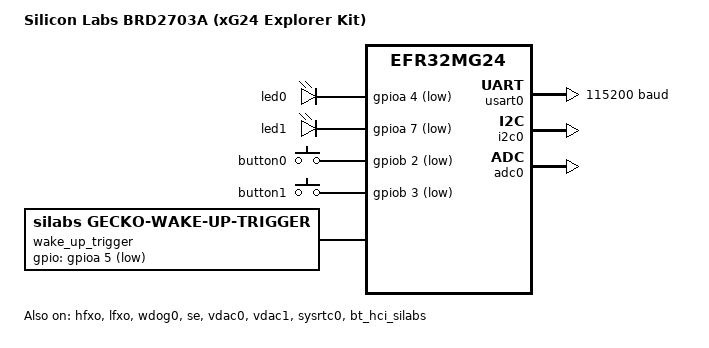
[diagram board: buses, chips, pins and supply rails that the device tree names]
/*
 * Copyright (c) 2020 TriaGnoSys GmbH
 *
 * SPDX-License-Identifier: Apache-2.0
 */

/dts-v1/;
#include <silabs/xg24/efr32mg24b210f1536im48.dtsi>
#include <zephyr/dt-bindings/input/input-event-codes.h>
#include <zephyr/dt-bindings/regulator/silabs_dcdc.h>
#include "xg24_ek2703a-pinctrl.dtsi"

/ {
	model = "Silicon Labs BRD2703A (xG24 Explorer Kit)";
	compatible = "silabs,xg24_ek2703a", "silabs,efr32mg24";

	chosen {
		zephyr,bt-hci = &bt_hci_silabs;
		zephyr,code-partition = &slot0_partition;
		zephyr,console = &usart0;
		zephyr,flash = &flash0;
		zephyr,shell-uart = &usart0;
		zephyr,sram = &sram0;
		zephyr,uart-pipe = &usart0;
	};

	aliases {
		led0 = &led0;
		led1 = &led1;
		sw0 = &button0;
		sw1 = &button1;
		watchdog0 = &wdog0;
	};

	leds {
		compatible = "gpio-leds";

		led0: led_0 {
			gpios = <&gpioa 4 GPIO_ACTIVE_LOW>;
		};

		led1: led_1 {
			gpios = <&gpioa 7 GPIO_ACTIVE_LOW>;
		};
	};

	buttons {
		compatible = "gpio-keys";

		button0: button_0 {
			gpios = <&gpiob 2 GPIO_ACTIVE_LOW>;
			zephyr,code = <INPUT_KEY_0>;
		};

		button1: button_1 {
			gpios = <&gpiob 3 GPIO_ACTIVE_LOW>;
			zephyr,code = <INPUT_KEY_1>;
		};
	};

	wake_up_trigger: gpio-wake-up  {
		compatible = "silabs,gecko-wake-up-trigger";
		gpios = <&gpioa 5 GPIO_ACTIVE_LOW>;
	};
};

&cpu0 {
	clock-frequency = <78000000>;
};

&itm {
	pinctrl-0 = <&itm_default>;
	pinctrl-names = "default";
	swo-ref-frequency = <DT_FREQ_M(78)>;
};

&hfxo {
	ctune = <140>;
	precision = <50>;
	status = "okay";
};

&lfxo {
	ctune = <63>;
	precision = <50>;
	status = "okay";
};

&hfrcodpll {
	clock-frequency = <DT_FREQ_M(78)>;
	clocks = <&hfxo>;
	dpll-autorecover;
	dpll-edge = "fall";
	dpll-lock = "phase";
	dpll-m = <1919>;
	dpll-n = <3839>;
};

&em23grpaclk {
	clocks = <&lfxo>;
};

&em4grpaclk {
	clocks = <&lfxo>;
};

&sysrtcclk {
	clocks = <&lfxo>;
};

&wdog0clk {
	clocks = <&lfxo>;
};

&wdog1clk {
	clocks = <&lfxo>;
};

&usart0 {
	current-speed = <115200>;
	pinctrl-0 = <&usart0_default>;
	pinctrl-names = "default";
	status = "okay";
};

&i2c0 {
	pinctrl-0 = <&i2c0_default>;
	pinctrl-names = "default";
	status = "okay";
};

&gpio {
	status = "okay";
};

&gpioa {
	status = "okay";
};

&gpiob {
	status = "okay";
};

&gpioc {
	status = "okay";
};

&gpiod {
	status = "okay";
};

&wdog0 {
	status = "okay";
};

&se {
	status = "okay";
};

&dcdc {
	status = "okay";
	regulator-boot-on;
	regulator-initial-mode = <SILABS_DCDC_MODE_BUCK>;
	silabs,pfmx-peak-current-milliamp = <120>;
};

&flash0 {
	partitions {
		compatible = "fixed-partitions";
		#address-cells = <1>;
		#size-cells = <1>;

		/* Reserve 48 kB for the bootloader */
		boot_partition: partition@0 {
			reg = <0x0 DT_SIZE_K(48)>;
			label = "mcuboot";
			read-only;
		};

		/* Reserve 728 kB for the application in slot 0 */
		slot0_partition: partition@c000 {
			reg = <0x0000c000 DT_SIZE_K(728)>;
			label = "image-0";
		};

		/* Reserve 728 kB for the application in slot 1 */
		slot1_partition: partition@c2000 {
			reg = <0x000c2000 DT_SIZE_K(728)>;
			label = "image-1";
		};

		/* Set 32 kB of storage at the end of the 1536 kB of flash */
		storage_partition: partition@178000 {
			reg = <0x00178000 DT_SIZE_K(32)>;
			label = "storage";
		};
	};
};

&adc0 {
	status = "okay";
};

&vdac0 {
	status = "okay";
};

&vdac1 {
	status = "okay";
};

&sysrtc0 {
	status = "okay";
};

&bt_hci_silabs {
	status = "okay";
};
